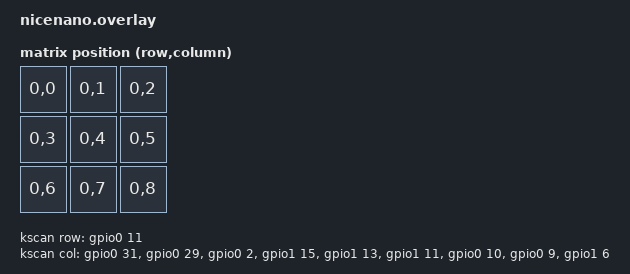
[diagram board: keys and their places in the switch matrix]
#include <dt-bindings/zmk/matrix_transform.h>
#include "nicenano-layouts.dtsi"

/ {
	kscan: kscan {
		compatible = "zmk,kscan-gpio-matrix";
		diode-direction = "col2row";
		wakeup-source;
		poll-period-ms = <20>;
		
		col-gpios
		= <&gpio0 31 GPIO_ACTIVE_HIGH>
		, <&gpio0 29 GPIO_ACTIVE_HIGH>
		, <&gpio0 2 GPIO_ACTIVE_HIGH>
		, <&gpio1 15 GPIO_ACTIVE_HIGH>
		, <&gpio1 13 GPIO_ACTIVE_HIGH>
		, <&gpio1 11 GPIO_ACTIVE_HIGH>
		, <&gpio0 10 GPIO_ACTIVE_HIGH>
		, <&gpio0 9 GPIO_ACTIVE_HIGH>
		, <&gpio1 6 GPIO_ACTIVE_HIGH>
		;
		
		row-gpios
		= <&gpio0 11 (GPIO_ACTIVE_HIGH | GPIO_PULL_DOWN)>
		;
	};
	
	default_transform: default_transform {
		compatible = "zmk,matrix-transform";
		columns = <2>;
		rows = <2>;
		
		map = <
		RC(0, 0) RC(0, 1) RC(0, 2)
		RC(0, 3) RC(0, 4) RC(0, 5)
		RC(0, 6) RC(0, 7) RC(0, 8)
		>;
	};
};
